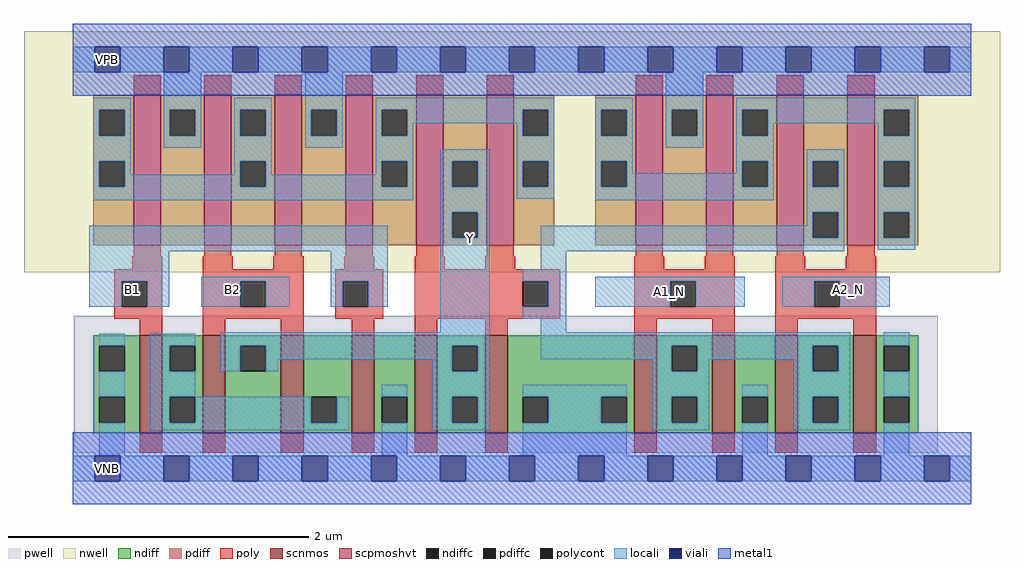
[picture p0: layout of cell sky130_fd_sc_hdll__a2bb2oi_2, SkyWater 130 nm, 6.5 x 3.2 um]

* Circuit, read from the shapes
.subckt sky130_fd_sc_hdll__a2bb2oi_2 A1_N A2_N B1 B2 VGND VNB VPB VPWR Y
XM1 n1 B1 VGND VNB sky130_fd_pr__nfet_01v8 w=0.65 l=0.15 m=2
XM2 Y B2 n1 VNB sky130_fd_pr__nfet_01v8 w=0.65 l=0.15 m=2
XM3 Y n2 VGND VNB sky130_fd_pr__nfet_01v8 w=0.65 l=0.15 m=2
XM4 n2 A1_N VGND VNB sky130_fd_pr__nfet_01v8 w=0.65 l=0.15 m=2
XM5 n2 A2_N VGND VNB sky130_fd_pr__nfet_01v8 w=0.65 l=0.15 m=2
XM6 VPWR B1 n3 VPB sky130_fd_pr__pfet_01v8_hvt w=1 l=0.18 m=2
XM7 n3 B2 VPWR VPB sky130_fd_pr__pfet_01v8_hvt w=1 l=0.18 m=2
XM8 Y n2 n3 VPB sky130_fd_pr__pfet_01v8_hvt w=1 l=0.18 m=2
XM9 VPWR A1_N n4 VPB sky130_fd_pr__pfet_01v8_hvt w=1 l=0.18 m=2
XM10 n2 A2_N n4 VPB sky130_fd_pr__pfet_01v8_hvt w=1 l=0.18 m=2
.ends

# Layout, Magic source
magic
tech sky130A
magscale 1 2
<< nwell >>
rect -65 261 1234 582
<< pwell >>
rect 1 21 1151 203
rect 29 -17 63 21
<< scnmos >>
rect 89 47 119 177
rect 173 47 203 177
rect 277 47 307 177
rect 371 47 401 177
rect 455 47 485 177
rect 549 47 579 177
rect 747 47 777 177
rect 851 47 881 177
rect 935 47 965 177
rect 1039 47 1069 177
<< scpmoshvt >>
rect 81 297 117 497
rect 175 297 211 497
rect 269 297 305 497
rect 363 297 399 497
rect 457 297 493 497
rect 551 297 587 497
rect 749 297 785 497
rect 843 297 879 497
rect 937 297 973 497
rect 1031 297 1067 497
<< ndiff >>
rect 27 163 89 177
rect 27 129 35 163
rect 69 129 89 163
rect 27 95 89 129
rect 27 61 35 95
rect 69 61 89 95
rect 27 47 89 61
rect 119 163 173 177
rect 119 129 129 163
rect 163 129 173 163
rect 119 95 173 129
rect 119 61 129 95
rect 163 61 173 95
rect 119 47 173 61
rect 203 163 277 177
rect 203 129 223 163
rect 257 129 277 163
rect 203 47 277 129
rect 307 95 371 177
rect 307 61 317 95
rect 351 61 371 95
rect 307 47 371 61
rect 401 95 455 177
rect 401 61 411 95
rect 445 61 455 95
rect 401 47 455 61
rect 485 163 549 177
rect 485 129 505 163
rect 539 129 549 163
rect 485 95 549 129
rect 485 61 505 95
rect 539 61 549 95
rect 485 47 549 61
rect 579 95 747 177
rect 579 61 599 95
rect 633 61 703 95
rect 737 61 747 95
rect 579 47 747 61
rect 777 163 851 177
rect 777 129 797 163
rect 831 129 851 163
rect 777 95 851 129
rect 777 61 797 95
rect 831 61 851 95
rect 777 47 851 61
rect 881 95 935 177
rect 881 61 891 95
rect 925 61 935 95
rect 881 47 935 61
rect 965 163 1039 177
rect 965 129 985 163
rect 1019 129 1039 163
rect 965 95 1039 129
rect 965 61 985 95
rect 1019 61 1039 95
rect 965 47 1039 61
rect 1069 163 1125 177
rect 1069 129 1079 163
rect 1113 129 1125 163
rect 1069 95 1125 129
rect 1069 61 1079 95
rect 1113 61 1125 95
rect 1069 47 1125 61
<< pdiff >>
rect 27 477 81 497
rect 27 443 35 477
rect 69 443 81 477
rect 27 409 81 443
rect 27 375 35 409
rect 69 375 81 409
rect 27 297 81 375
rect 117 477 175 497
rect 117 443 129 477
rect 163 443 175 477
rect 117 297 175 443
rect 211 477 269 497
rect 211 443 223 477
rect 257 443 269 477
rect 211 409 269 443
rect 211 375 223 409
rect 257 375 269 409
rect 211 297 269 375
rect 305 477 363 497
rect 305 443 317 477
rect 351 443 363 477
rect 305 297 363 443
rect 399 477 457 497
rect 399 443 411 477
rect 445 443 457 477
rect 399 409 457 443
rect 399 375 411 409
rect 445 375 457 409
rect 399 297 457 375
rect 493 409 551 497
rect 493 375 505 409
rect 539 375 551 409
rect 493 341 551 375
rect 493 307 505 341
rect 539 307 551 341
rect 493 297 551 307
rect 587 477 641 497
rect 587 443 599 477
rect 633 443 641 477
rect 587 409 641 443
rect 587 375 599 409
rect 633 375 641 409
rect 587 297 641 375
rect 695 477 749 497
rect 695 443 703 477
rect 737 443 749 477
rect 695 409 749 443
rect 695 375 703 409
rect 737 375 749 409
rect 695 297 749 375
rect 785 477 843 497
rect 785 443 797 477
rect 831 443 843 477
rect 785 297 843 443
rect 879 477 937 497
rect 879 443 891 477
rect 925 443 937 477
rect 879 409 937 443
rect 879 375 891 409
rect 925 375 937 409
rect 879 297 937 375
rect 973 409 1031 497
rect 973 375 985 409
rect 1019 375 1031 409
rect 973 341 1031 375
rect 973 307 985 341
rect 1019 307 1031 341
rect 973 297 1031 307
rect 1067 477 1125 497
rect 1067 443 1079 477
rect 1113 443 1125 477
rect 1067 409 1125 443
rect 1067 375 1079 409
rect 1113 375 1125 409
rect 1067 341 1125 375
rect 1067 307 1079 341
rect 1113 307 1125 341
rect 1067 297 1125 307
<< ndiffc >>
rect 35 129 69 163
rect 35 61 69 95
rect 129 129 163 163
rect 129 61 163 95
rect 223 129 257 163
rect 317 61 351 95
rect 411 61 445 95
rect 505 129 539 163
rect 505 61 539 95
rect 599 61 633 95
rect 703 61 737 95
rect 797 129 831 163
rect 797 61 831 95
rect 891 61 925 95
rect 985 129 1019 163
rect 985 61 1019 95
rect 1079 129 1113 163
rect 1079 61 1113 95
<< pdiffc >>
rect 35 443 69 477
rect 35 375 69 409
rect 129 443 163 477
rect 223 443 257 477
rect 223 375 257 409
rect 317 443 351 477
rect 411 443 445 477
rect 411 375 445 409
rect 505 375 539 409
rect 505 307 539 341
rect 599 443 633 477
rect 599 375 633 409
rect 703 443 737 477
rect 703 375 737 409
rect 797 443 831 477
rect 891 443 925 477
rect 891 375 925 409
rect 985 375 1019 409
rect 985 307 1019 341
rect 1079 443 1113 477
rect 1079 375 1113 409
rect 1079 307 1113 341
<< poly >>
rect 81 497 117 523
rect 175 497 211 523
rect 269 497 305 523
rect 363 497 399 523
rect 457 497 493 523
rect 551 497 587 523
rect 749 497 785 523
rect 843 497 879 523
rect 937 497 973 523
rect 1031 497 1067 523
rect 81 282 117 297
rect 175 282 211 297
rect 269 282 305 297
rect 363 282 399 297
rect 457 282 493 297
rect 551 282 587 297
rect 749 282 785 297
rect 843 282 879 297
rect 937 282 973 297
rect 1031 282 1067 297
rect 79 265 119 282
rect 55 249 119 265
rect 55 215 65 249
rect 99 215 119 249
rect 55 199 119 215
rect 89 177 119 199
rect 173 265 213 282
rect 267 265 307 282
rect 361 265 401 282
rect 455 265 495 282
rect 549 265 589 282
rect 747 265 787 282
rect 841 265 881 282
rect 173 249 307 265
rect 173 215 223 249
rect 257 215 307 249
rect 173 199 307 215
rect 349 249 413 265
rect 349 215 359 249
rect 393 215 413 249
rect 349 199 413 215
rect 455 249 649 265
rect 455 215 599 249
rect 633 215 649 249
rect 455 199 649 215
rect 747 249 881 265
rect 747 215 795 249
rect 829 215 881 249
rect 747 199 881 215
rect 173 177 203 199
rect 277 177 307 199
rect 371 177 401 199
rect 455 177 485 199
rect 549 177 579 199
rect 747 177 777 199
rect 851 177 881 199
rect 935 265 975 282
rect 1029 265 1069 282
rect 935 249 1069 265
rect 935 215 987 249
rect 1021 215 1069 249
rect 935 199 1069 215
rect 935 177 965 199
rect 1039 177 1069 199
rect 89 21 119 47
rect 173 21 203 47
rect 277 21 307 47
rect 371 21 401 47
rect 455 21 485 47
rect 549 21 579 47
rect 747 21 777 47
rect 851 21 881 47
rect 935 21 965 47
rect 1039 21 1069 47
<< polycont >>
rect 65 215 99 249
rect 223 215 257 249
rect 359 215 393 249
rect 599 215 633 249
rect 795 215 829 249
rect 987 215 1021 249
<< locali >>
rect 0 527 29 561
rect 63 527 121 561
rect 155 527 213 561
rect 247 527 305 561
rect 339 527 397 561
rect 431 527 489 561
rect 523 527 581 561
rect 615 527 673 561
rect 707 527 765 561
rect 799 527 857 561
rect 891 527 949 561
rect 983 527 1041 561
rect 1075 527 1133 561
rect 1167 527 1196 561
rect 27 477 77 493
rect 27 443 35 477
rect 69 443 77 477
rect 27 409 77 443
rect 121 477 171 527
rect 121 443 129 477
rect 163 443 171 477
rect 121 427 171 443
rect 215 477 265 493
rect 215 443 223 477
rect 257 443 265 477
rect 27 375 35 409
rect 69 391 77 409
rect 215 409 265 443
rect 309 477 359 527
rect 309 443 317 477
rect 351 443 359 477
rect 309 427 359 443
rect 403 477 641 493
rect 403 443 411 477
rect 445 459 599 477
rect 445 443 453 459
rect 215 391 223 409
rect 69 375 223 391
rect 257 391 265 409
rect 403 409 453 443
rect 591 443 599 459
rect 633 443 641 477
rect 403 391 411 409
rect 257 375 411 391
rect 445 375 453 409
rect 27 357 453 375
rect 489 409 555 425
rect 489 375 505 409
rect 539 375 555 409
rect 489 341 555 375
rect 591 409 641 443
rect 591 375 599 409
rect 633 375 641 409
rect 591 359 641 375
rect 695 477 745 493
rect 695 443 703 477
rect 737 443 745 477
rect 695 409 745 443
rect 789 477 839 527
rect 789 443 797 477
rect 831 443 839 477
rect 789 427 839 443
rect 883 477 1121 493
rect 883 443 891 477
rect 925 459 1079 477
rect 925 443 933 459
rect 695 375 703 409
rect 737 393 745 409
rect 883 409 933 443
rect 1071 443 1079 459
rect 1113 443 1121 477
rect 883 393 891 409
rect 737 375 891 393
rect 925 375 933 409
rect 695 357 933 375
rect 977 409 1027 425
rect 977 375 985 409
rect 1019 375 1027 409
rect 22 289 419 323
rect 22 249 128 289
rect 22 215 65 249
rect 99 215 128 249
rect 171 249 289 255
rect 171 215 223 249
rect 257 215 289 249
rect 343 249 419 289
rect 343 215 359 249
rect 393 215 419 249
rect 489 307 505 341
rect 539 307 555 341
rect 977 341 1027 375
rect 977 323 985 341
rect 489 181 555 307
rect 623 307 985 323
rect 1019 307 1027 341
rect 623 289 1027 307
rect 1071 409 1121 443
rect 1071 375 1079 409
rect 1113 375 1121 409
rect 1071 341 1121 375
rect 1071 307 1079 341
rect 1113 307 1121 341
rect 1071 291 1121 307
rect 623 265 657 289
rect 599 249 657 265
rect 633 215 657 249
rect 695 249 894 255
rect 695 215 795 249
rect 829 215 894 249
rect 944 249 1087 255
rect 944 215 987 249
rect 1021 215 1087 249
rect 599 199 657 215
rect 35 163 69 179
rect 35 95 69 129
rect 35 17 69 61
rect 103 163 163 179
rect 103 129 129 163
rect 197 163 555 181
rect 197 129 223 163
rect 257 145 505 163
rect 257 129 273 145
rect 479 129 505 145
rect 539 129 555 163
rect 623 181 657 199
rect 623 163 1035 181
rect 623 145 797 163
rect 103 95 163 129
rect 411 95 445 111
rect 103 61 129 95
rect 163 61 317 95
rect 351 61 367 95
rect 103 51 367 61
rect 411 17 445 61
rect 479 95 555 129
rect 771 129 797 145
rect 831 145 985 163
rect 831 129 847 145
rect 479 61 505 95
rect 539 61 555 95
rect 479 51 555 61
rect 599 95 737 111
rect 633 61 703 95
rect 599 17 737 61
rect 771 95 847 129
rect 959 129 985 145
rect 1019 129 1035 163
rect 771 61 797 95
rect 831 61 847 95
rect 771 51 847 61
rect 891 95 925 111
rect 891 17 925 61
rect 959 95 1035 129
rect 959 61 985 95
rect 1019 61 1035 95
rect 959 51 1035 61
rect 1079 163 1113 181
rect 1079 95 1113 129
rect 1079 17 1113 61
rect 0 -17 29 17
rect 63 -17 121 17
rect 155 -17 213 17
rect 247 -17 305 17
rect 339 -17 397 17
rect 431 -17 489 17
rect 523 -17 581 17
rect 615 -17 673 17
rect 707 -17 765 17
rect 799 -17 857 17
rect 891 -17 949 17
rect 983 -17 1041 17
rect 1075 -17 1133 17
rect 1167 -17 1196 17
<< viali >>
rect 29 527 63 561
rect 121 527 155 561
rect 213 527 247 561
rect 305 527 339 561
rect 397 527 431 561
rect 489 527 523 561
rect 581 527 615 561
rect 673 527 707 561
rect 765 527 799 561
rect 857 527 891 561
rect 949 527 983 561
rect 1041 527 1075 561
rect 1133 527 1167 561
rect 29 -17 63 17
rect 121 -17 155 17
rect 213 -17 247 17
rect 305 -17 339 17
rect 397 -17 431 17
rect 489 -17 523 17
rect 581 -17 615 17
rect 673 -17 707 17
rect 765 -17 799 17
rect 857 -17 891 17
rect 949 -17 983 17
rect 1041 -17 1075 17
rect 1133 -17 1167 17
<< metal1 >>
rect 0 561 1196 592
rect 0 527 29 561
rect 63 527 121 561
rect 155 527 213 561
rect 247 527 305 561
rect 339 527 397 561
rect 431 527 489 561
rect 523 527 581 561
rect 615 527 673 561
rect 707 527 765 561
rect 799 527 857 561
rect 891 527 949 561
rect 983 527 1041 561
rect 1075 527 1133 561
rect 1167 527 1196 561
rect 0 496 1196 527
rect 0 17 1196 48
rect 0 -17 29 17
rect 63 -17 121 17
rect 155 -17 213 17
rect 247 -17 305 17
rect 339 -17 397 17
rect 431 -17 489 17
rect 523 -17 581 17
rect 615 -17 673 17
rect 707 -17 765 17
rect 799 -17 857 17
rect 891 -17 949 17
rect 983 -17 1041 17
rect 1075 -17 1133 17
rect 1167 -17 1196 17
rect 0 -48 1196 -17
<< labels >>
flabel locali s 1016 221 1050 255 0 FreeSans 400 180 0 0 A2_N
port 2 nsew signal input
flabel locali s 695 215 894 255 0 FreeSans 400 180 0 0 A1_N
port 1 nsew signal input
flabel locali s 512 289 546 323 0 FreeSans 400 180 0 0 Y
port 9 nsew signal output
flabel locali s 196 221 230 255 0 FreeSans 400 0 0 0 B2
port 4 nsew signal input
flabel locali s 62 221 96 255 0 FreeSans 400 0 0 0 B1
port 3 nsew signal input
flabel pwell s 29 -17 63 17 0 FreeSans 200 0 0 0 VNB
port 6 nsew ground bidirectional
flabel nwell s 29 527 63 561 0 FreeSans 200 0 0 0 VPB
port 7 nsew power bidirectional
flabel metal1 s 29 -17 63 17 0 FreeSans 200 0 0 0 VGND
port 5 nsew ground bidirectional
flabel metal1 s 29 527 63 561 0 FreeSans 200 0 0 0 VPWR
port 8 nsew power bidirectional
rlabel comment s 0 0 0 0 4 a2bb2oi_2
<< properties >>
string LEFsite unithd
string LEFclass CORE
string FIXED_BBOX 0 0 1196 544
string GDS_FILE $PDKPATH/libs.ref/sky130_fd_sc_hdll/gds/sky130_fd_sc_hdll.gds
string LEFsymmetry X Y R90
string GDS_END 1737528
string GDS_START 1728330
string LEFproperties maskLayoutSubType "abstract" prCellType "standard" originalViewName "layout"
<< end >>
